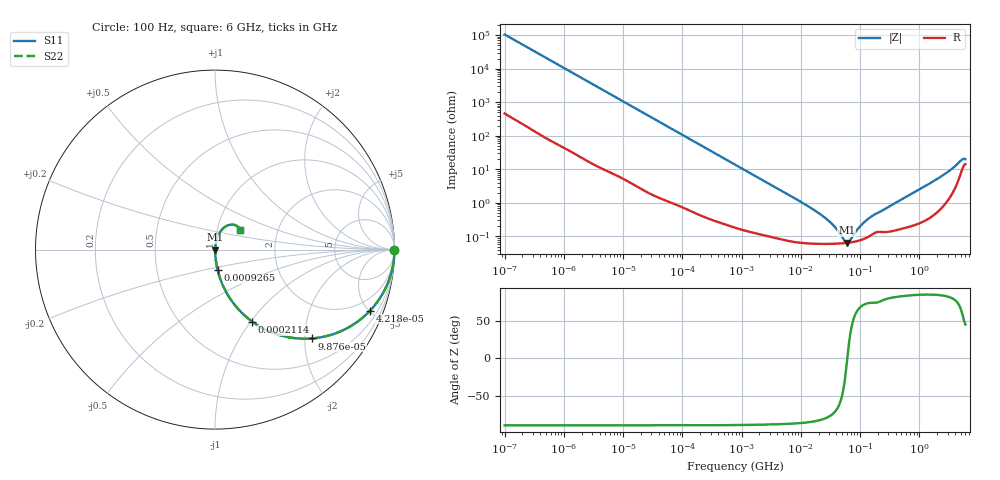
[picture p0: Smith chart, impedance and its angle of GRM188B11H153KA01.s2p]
!Murata Part Number: GRM188B11H153KA01
!These Parameters are Measured in Series Mode Connection
!Data Generated on Mar 30, 2021
!  o--ll--o
!Port1  Port2
!  o------o
!Operation Temp=25[degC], DC Bias Voltage=0[V]
!Freq. Start=100[Hz] Stop=6[GHz] 401[Steps]
# Hz S RI R 50
!Freq.(Hz) S11(Real) S11(Imag) S21(Real) S21(Imag) S12(Real) S12(Imag) S22(Real) S22(Imag)
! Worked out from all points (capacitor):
!   401 points, 100 Hz to 6 GHz, reference 50 ohm
!   read as one part in series: C = 15.1 nF near 109 Hz
!   lowest |Z| = 64.8 mohm at 59.6 MHz (marker M1)
!   series resonance near 61.02 MHz, so ESL is about 450 pH
!   S11 on the Smith chart (normalised r, x): 100 Hz: open; 42.18 kHz: 1.03, -5.07; 98.76 kHz: 1.01, -2.17; 211.4 kHz: 1.01, -1.02; 926.5 kHz: 1.00, -0.23; 6 GHz: 1.29, +0.28
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100  1 -0.00095  5.1e-06 0.00095  5.1e-06 0.00095  1 -0.00095
2008  0.9996 -0.0189  0.000437 0.0189  0.000437 0.0189  0.9996 -0.0189
11514  0.988 -0.1066  0.012 0.1066  0.012 0.1066  0.988 -0.1066
40335  0.8743 -0.3289  0.1257 0.3289  0.1257 0.3289  0.8743 -0.3289
42182  0.8642 -0.3399  0.1358 0.3399  0.1358 0.3399  0.8642 -0.3399
98762  0.5413 -0.4949  0.4587 0.4949  0.4587 0.4949  0.5413 -0.4949
211427  0.2079 -0.4018  0.7921 0.4018  0.7921 0.4018  0.2079 -0.4018
378399  0.0774 -0.2625  0.9226 0.2625  0.9226 0.2625  0.0774 -0.2625
774597  0.0209 -0.1367  0.9791 0.1367  0.9791 0.1367  0.0209 -0.1367
926525  0.0151 -0.1151  0.9849 0.1151  0.9849 0.1151  0.0151 -0.1151
2837864  0.00248 -0.0383  0.9975 0.0383  0.9975 0.0383  0.00248 -0.0383
1.555665e7  0.000652 -0.00663  0.9993 0.00663  0.9993 0.00663  0.000652 -0.00663
3.184506e7  0.000606 -0.00252  0.9994 0.00252  0.9994 0.00252  0.000606 -0.00252
5.449875e7  0.000632 -0.000408  0.9994 0.000408  0.9994 0.000408  0.000632 -0.000408
5.960426e7  0.000642 -8.37e-05  0.9994 8.37e-05  0.9994 8.37e-05  0.000642 -8.37e-05
6.817316e7  0.000662 0.000402  0.9993 -0.000402  0.9993 -0.000402  0.000662 0.000402
9.326766e7  0.000742 0.00157  0.9993 -0.00157  0.9993 -0.00157  0.000742 0.00157
1.275994e8  0.000913 0.00288  0.9991 -0.00288  0.9991 -0.00288  0.000913 0.00288
3.124326e8  0.00144 0.00772  0.9986 -0.00772  0.9986 -0.00772  0.00144 0.00772
3.065283e9  0.0188 0.0817  0.9812 -0.0817  0.9812 -0.0817  0.0188 0.0817
5.016141e9  0.0915 0.1395  0.9085 -0.1395  0.9085 -0.1395  0.0915 0.1395
6e9  0.1387 0.1071  0.8613 -0.1071  0.8613 -0.1071  0.1387 0.1071
